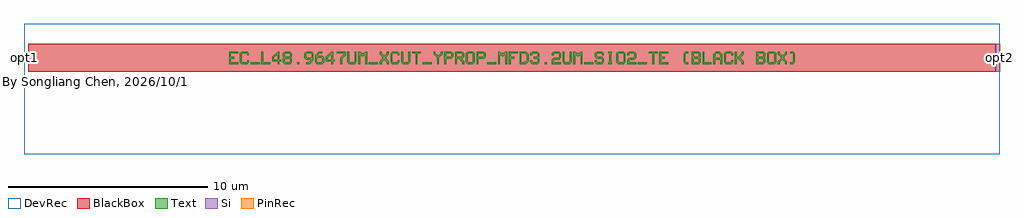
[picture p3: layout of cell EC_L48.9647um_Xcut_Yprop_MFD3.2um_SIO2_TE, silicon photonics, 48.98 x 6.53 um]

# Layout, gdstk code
import gdstk
lib = gdstk.Library(unit=1e-6, precision=1e-10)
def R(c, l, rs):  # rectangles x0, y0, x1, y1
    for r in rs: c.add(gdstk.rectangle(r[:2], r[2:], *l))
def P(c, l, *ps):  # polygons
    for p in ps: c.add(gdstk.Polygon(p, *l))
Si = (1, 0)
PinRec = (1, 10)
Text = (10, 0)
DevRec = (68, 0)
BlackBox = (998, 0)

text_10 = lib.new_cell('TEXT$10')
R(text_10, Text, [(1.08,0,1.53,0.09), (3.42,0,3.51,0.09), (7.02,0,7.47,0.09), (9.72,0,10.17,0.09), (12.96,0,13.41,0.09), (15.84,0,15.93,0.09), (17.82,0,18.27,0.09), (20.52,0,20.97,0.09)])
P(text_10, Text, [(0,0),(0,0.63),(0.45,0.63),(0.45,0.54),(0.09,0.54),(0.09,0.36),(0.27,0.36),(0.27,0.27),(0.09,0.27),(0.09,0.09),(0.45,0.09),(0.45,0)],
  [(0.63,0),(0.54,0.09),(0.54,0.54),(0.63,0.63),(0.9,0.63),(0.99,0.54),(0.99,0.45),(0.9,0.45),(0.9,0.495),(0.855,0.54),(0.675,0.54),(0.63,0.495),(0.63,0.135),(0.675,0.09),(0.855,0.09),(0.9,0.135),(0.9,0.18),(0.99,0.18),(0.99,0.09),(0.9,0)],
  [(1.62,0),(1.62,0.63),(1.71,0.63),(1.71,0.09),(2.07,0.09),(2.07,0)],
  [(2.43,0),(2.43,0.135),(2.16,0.135),(2.16,0.225),(2.43,0.225),(2.43,0.45),(2.385,0.45),(2.25,0.315),(2.25,0.225),(2.16,0.225),(2.16,0.36),(2.43,0.63),(2.52,0.63),(2.52,0.225),(2.61,0.225),(2.61,0.135),(2.52,0.135),(2.52,0)],
  [(2.79,0),(2.7,0.09),(2.7,0.27),(2.745,0.315),(2.7,0.36),(2.7,0.54),(2.79,0.63),(3.06,0.63),(3.15,0.54),(2.835,0.54),(2.79,0.495),(2.79,0.405),(2.835,0.36),(3.015,0.36),(3.06,0.405),(3.06,0.495),(3.015,0.54),(3.15,0.54),(3.15,0.36),(3.105,0.315),(3.15,0.27),(2.835,0.27),(2.79,0.225),(2.79,0.135),(2.835,0.09),(3.015,0.09),(3.06,0.135),(3.06,0.225),(3.015,0.27),(3.15,0.27),(3.15,0.09),(3.06,0)],
  [(3.87,0),(3.87,0.09),(4.005,0.09),(4.095,0.18),(4.095,0.225),(3.87,0.225),(3.78,0.315),(4.095,0.315),(4.14,0.36),(4.14,0.495),(4.095,0.54),(3.915,0.54),(3.87,0.495),(3.87,0.36),(3.915,0.315),(3.78,0.315),(3.78,0.54),(3.87,0.63),(4.14,0.63),(4.23,0.54),(4.23,0.18),(4.05,0)],
  [(4.41,0),(4.32,0.09),(4.32,0.45),(4.5,0.63),(4.68,0.63),(4.68,0.54),(4.545,0.54),(4.455,0.45),(4.455,0.405),(4.68,0.405),(4.77,0.315),(4.455,0.315),(4.41,0.27),(4.41,0.135),(4.455,0.09),(4.635,0.09),(4.68,0.135),(4.68,0.27),(4.635,0.315),(4.77,0.315),(4.77,0.09),(4.68,0)],
  [(5.13,0),(5.13,0.135),(4.86,0.135),(4.86,0.225),(5.13,0.225),(5.13,0.45),(5.085,0.45),(4.95,0.315),(4.95,0.225),(4.86,0.225),(4.86,0.36),(5.13,0.63),(5.22,0.63),(5.22,0.225),(5.31,0.225),(5.31,0.135),(5.22,0.135),(5.22,0)],
  [(5.58,0),(5.58,0.315),(5.76,0.495),(5.76,0.54),(5.4,0.54),(5.4,0.63),(5.85,0.63),(5.85,0.45),(5.67,0.27),(5.67,0)],
  [(6.03,0),(5.94,0.09),(5.94,0.63),(6.03,0.63),(6.03,0.135),(6.075,0.09),(6.255,0.09),(6.3,0.135),(6.3,0.63),(6.39,0.63),(6.39,0.09),(6.3,0)],
  [(6.48,0),(6.48,0.63),(6.57,0.63),(6.66,0.54),(6.75,0.54),(6.84,0.63),(6.93,0.63),(6.93,0),(6.84,0),(6.84,0.45),(6.795,0.45),(6.705,0.36),(6.615,0.45),(6.57,0.45),(6.57,0)],
  [(7.56,0),(7.56,0.135),(7.695,0.27),(7.695,0.36),(7.56,0.495),(7.56,0.63),(7.65,0.63),(7.65,0.54),(7.785,0.405),(7.92,0.54),(7.92,0.63),(8.01,0.63),(8.01,0.495),(7.875,0.36),(7.875,0.27),(8.01,0.135),(8.01,0),(7.92,0),(7.92,0.09),(7.785,0.225),(7.65,0.09),(7.65,0)],
  [(8.19,0),(8.1,0.09),(8.1,0.54),(8.19,0.63),(8.46,0.63),(8.55,0.54),(8.55,0.45),(8.46,0.45),(8.46,0.495),(8.415,0.54),(8.235,0.54),(8.19,0.495),(8.19,0.135),(8.235,0.09),(8.415,0.09),(8.46,0.135),(8.46,0.18),(8.55,0.18),(8.55,0.09),(8.46,0)],
  [(8.73,0),(8.64,0.09),(8.64,0.63),(8.73,0.63),(8.73,0.135),(8.775,0.09),(8.955,0.09),(9,0.135),(9,0.63),(9.09,0.63),(9.09,0.09),(9,0)],
  [(9.36,0),(9.36,0.54),(9.18,0.54),(9.18,0.63),(9.63,0.63),(9.63,0.54),(9.45,0.54),(9.45,0)],
  [(10.44,0),(10.44,0.315),(10.26,0.495),(10.26,0.63),(10.35,0.63),(10.35,0.54),(10.485,0.405),(10.62,0.54),(10.62,0.63),(10.71,0.63),(10.71,0.495),(10.53,0.315),(10.53,0)],
  [(10.8,0),(10.8,0.63),(11.16,0.63),(11.25,0.54),(11.25,0.36),(11.16,0.27),(10.89,0.27),(10.89,0.36),(11.115,0.36),(11.16,0.405),(11.16,0.495),(11.115,0.54),(10.89,0.54),(10.89,0)],
  [(11.34,0),(11.34,0.63),(11.7,0.63),(11.79,0.54),(11.43,0.54),(11.43,0.36),(11.655,0.36),(11.7,0.405),(11.7,0.495),(11.655,0.54),(11.79,0.54),(11.79,0.36),(11.7,0.27),(11.7,0.225),(11.79,0.135),(11.79,0),(11.7,0),(11.7,0.09),(11.52,0.27),(11.43,0.27),(11.43,0)],
  [(11.97,0),(11.88,0.09),(11.88,0.54),(11.97,0.63),(12.24,0.63),(12.33,0.54),(12.33,0.315),(12.24,0.315),(12.24,0.495),(12.195,0.54),(12.015,0.54),(11.97,0.495),(11.97,0.135),(12.015,0.09),(12.195,0.09),(12.24,0.135),(12.24,0.315),(12.33,0.315),(12.33,0.09),(12.24,0)],
  [(12.42,0),(12.42,0.63),(12.78,0.63),(12.87,0.54),(12.87,0.36),(12.78,0.27),(12.51,0.27),(12.51,0.36),(12.735,0.36),(12.78,0.405),(12.78,0.495),(12.735,0.54),(12.51,0.54),(12.51,0)],
  [(13.5,0),(13.5,0.63),(13.59,0.63),(13.68,0.54),(13.77,0.54),(13.86,0.63),(13.95,0.63),(13.95,0),(13.86,0),(13.86,0.45),(13.815,0.45),(13.725,0.36),(13.635,0.45),(13.59,0.45),(13.59,0)],
  [(14.04,0),(14.04,0.63),(14.49,0.63),(14.49,0.54),(14.13,0.54),(14.13,0.36),(14.31,0.36),(14.31,0.27),(14.13,0.27),(14.13,0)],
  [(14.58,0),(14.58,0.63),(14.895,0.63),(14.985,0.54),(14.67,0.54),(14.67,0.09),(14.85,0.09),(14.94,0.18),(14.94,0.45),(14.85,0.54),(14.985,0.54),(15.03,0.495),(15.03,0.135),(14.895,0)],
  [(15.21,0),(15.12,0.09),(15.12,0.18),(15.21,0.18),(15.21,0.135),(15.255,0.09),(15.435,0.09),(15.48,0.135),(15.48,0.225),(15.435,0.27),(15.3,0.27),(15.3,0.36),(15.435,0.36),(15.48,0.405),(15.48,0.495),(15.435,0.54),(15.255,0.54),(15.21,0.495),(15.21,0.45),(15.12,0.45),(15.12,0.54),(15.21,0.63),(15.48,0.63),(15.57,0.54),(15.57,0.36),(15.525,0.315),(15.57,0.27),(15.57,0.09),(15.48,0)],
  [(16.2,0),(16.2,0.225),(16.29,0.315),(16.515,0.315),(16.56,0.36),(16.56,0.495),(16.515,0.54),(16.335,0.54),(16.29,0.495),(16.29,0.45),(16.2,0.45),(16.2,0.54),(16.29,0.63),(16.56,0.63),(16.65,0.54),(16.65,0.315),(16.56,0.225),(16.335,0.225),(16.29,0.18),(16.29,0.09),(16.65,0.09),(16.65,0)],
  [(16.83,0),(16.74,0.09),(16.74,0.63),(16.83,0.63),(16.83,0.135),(16.875,0.09),(17.055,0.09),(17.1,0.135),(17.1,0.63),(17.19,0.63),(17.19,0.09),(17.1,0)],
  [(17.28,0),(17.28,0.63),(17.37,0.63),(17.46,0.54),(17.55,0.54),(17.64,0.63),(17.73,0.63),(17.73,0),(17.64,0),(17.64,0.45),(17.595,0.45),(17.505,0.36),(17.415,0.45),(17.37,0.45),(17.37,0)],
  [(18.45,0),(18.36,0.09),(18.36,0.18),(18.45,0.18),(18.45,0.135),(18.495,0.09),(18.675,0.09),(18.72,0.135),(18.72,0.225),(18.675,0.27),(18.45,0.27),(18.36,0.36),(18.36,0.54),(18.45,0.63),(18.72,0.63),(18.81,0.54),(18.81,0.45),(18.72,0.45),(18.72,0.495),(18.675,0.54),(18.495,0.54),(18.45,0.495),(18.45,0.405),(18.495,0.36),(18.72,0.36),(18.81,0.27),(18.81,0.09),(18.72,0)],
  [(19.035,0),(19.035,0.09),(19.08,0.09),(19.08,0.54),(19.035,0.54),(19.035,0.63),(19.215,0.63),(19.215,0.54),(19.17,0.54),(19.17,0.09),(19.215,0.09),(19.215,0)],
  [(19.53,0),(19.44,0.09),(19.44,0.54),(19.53,0.63),(19.8,0.63),(19.89,0.54),(19.89,0.315),(19.8,0.315),(19.8,0.495),(19.755,0.54),(19.575,0.54),(19.53,0.495),(19.53,0.135),(19.575,0.09),(19.755,0.09),(19.8,0.135),(19.8,0.315),(19.89,0.315),(19.89,0.09),(19.8,0)],
  [(19.98,0),(19.98,0.225),(20.07,0.315),(20.295,0.315),(20.34,0.36),(20.34,0.495),(20.295,0.54),(20.115,0.54),(20.07,0.495),(20.07,0.45),(19.98,0.45),(19.98,0.54),(20.07,0.63),(20.34,0.63),(20.43,0.54),(20.43,0.315),(20.34,0.225),(20.115,0.225),(20.07,0.18),(20.07,0.09),(20.43,0.09),(20.43,0)],
  [(21.24,0),(21.24,0.54),(21.06,0.54),(21.06,0.63),(21.51,0.63),(21.51,0.54),(21.33,0.54),(21.33,0)],
  [(21.6,0),(21.6,0.63),(22.05,0.63),(22.05,0.54),(21.69,0.54),(21.69,0.36),(21.87,0.36),(21.87,0.27),(21.69,0.27),(21.69,0.09),(22.05,0.09),(22.05,0)],
  [(22.905,0),(22.815,0.09),(22.815,0.54),(22.905,0.63),(23.04,0.63),(23.04,0.54),(22.95,0.54),(22.905,0.495),(22.905,0.135),(22.95,0.09),(23.04,0.09),(23.04,0)],
  [(23.22,0),(23.22,0.63),(23.58,0.63),(23.67,0.54),(23.31,0.54),(23.31,0.36),(23.535,0.36),(23.58,0.405),(23.58,0.495),(23.535,0.54),(23.67,0.54),(23.67,0.36),(23.625,0.315),(23.67,0.27),(23.31,0.27),(23.31,0.09),(23.535,0.09),(23.58,0.135),(23.58,0.225),(23.535,0.27),(23.67,0.27),(23.67,0.09),(23.58,0)],
  [(23.76,0),(23.76,0.63),(23.85,0.63),(23.85,0.09),(24.21,0.09),(24.21,0)],
  [(24.3,0),(24.3,0.495),(24.435,0.63),(24.615,0.63),(24.705,0.54),(24.48,0.54),(24.39,0.45),(24.39,0.315),(24.66,0.315),(24.66,0.45),(24.57,0.54),(24.705,0.54),(24.75,0.495),(24.75,0),(24.66,0),(24.66,0.225),(24.39,0.225),(24.39,0)],
  [(24.93,0),(24.84,0.09),(24.84,0.54),(24.93,0.63),(25.2,0.63),(25.29,0.54),(25.29,0.45),(25.2,0.45),(25.2,0.495),(25.155,0.54),(24.975,0.54),(24.93,0.495),(24.93,0.135),(24.975,0.09),(25.155,0.09),(25.2,0.135),(25.2,0.18),(25.29,0.18),(25.29,0.09),(25.2,0)],
  [(25.38,0),(25.38,0.63),(25.47,0.63),(25.47,0.36),(25.56,0.36),(25.74,0.54),(25.74,0.63),(25.83,0.63),(25.83,0.495),(25.65,0.315),(25.83,0.135),(25.83,0),(25.74,0),(25.74,0.09),(25.56,0.27),(25.47,0.27),(25.47,0)],
  [(26.46,0),(26.46,0.63),(26.82,0.63),(26.91,0.54),(26.55,0.54),(26.55,0.36),(26.775,0.36),(26.82,0.405),(26.82,0.495),(26.775,0.54),(26.91,0.54),(26.91,0.36),(26.865,0.315),(26.91,0.27),(26.55,0.27),(26.55,0.09),(26.775,0.09),(26.82,0.135),(26.82,0.225),(26.775,0.27),(26.91,0.27),(26.91,0.09),(26.82,0)],
  [(27.09,0),(27,0.09),(27,0.54),(27.09,0.63),(27.36,0.63),(27.45,0.54),(27.45,0.315),(27.36,0.315),(27.36,0.495),(27.315,0.54),(27.135,0.54),(27.09,0.495),(27.09,0.135),(27.135,0.09),(27.315,0.09),(27.36,0.135),(27.36,0.315),(27.45,0.315),(27.45,0.09),(27.36,0)],
  [(27.54,0),(27.54,0.135),(27.675,0.27),(27.675,0.36),(27.54,0.495),(27.54,0.63),(27.63,0.63),(27.63,0.54),(27.765,0.405),(27.9,0.54),(27.9,0.63),(27.99,0.63),(27.99,0.495),(27.855,0.36),(27.855,0.27),(27.99,0.135),(27.99,0),(27.9,0),(27.9,0.09),(27.765,0.225),(27.63,0.09),(27.63,0)],
  [(28.17,0),(28.17,0.09),(28.26,0.09),(28.305,0.135),(28.305,0.495),(28.26,0.54),(28.17,0.54),(28.17,0.63),(28.305,0.63),(28.395,0.54),(28.395,0.09),(28.305,0)])

ec_l48_9647um_xcut_yprop = lib.new_cell('EC_L48.9647um_Xcut_Yprop_MFD3.2um_SIO2_TE')
R(ec_l48_9647um_xcut_yprop, Si, [(24.2823,-0.7,24.4823,0.7), (-24.4824,-0.0984,-24.2824,0.0984)])
R(ec_l48_9647um_xcut_yprop, DevRec, [(-24.4824,-4.8338,24.4823,1.7)])
R(ec_l48_9647um_xcut_yprop, BlackBox, [(-24.2824,-0.7,24.2823,0.7)])
ec_l48_9647um_xcut_yprop.add(gdstk.FlexPath([(-24.4724,0),(-24.4924,0)], 0.1968, ends="flush", simple_path=True, layer=1, datatype=10))  # PinRec
ec_l48_9647um_xcut_yprop.add(gdstk.FlexPath([(24.4723,0),(24.4923,0)], 1.4, ends="flush", simple_path=True, layer=1, datatype=10))  # PinRec
ec_l48_9647um_xcut_yprop.add(gdstk.Reference(text_10, (-14.1976,-0.315)))
ec_l48_9647um_xcut_yprop.add(gdstk.Label('By Songliang Chen, 2026/10/13', (-23.9824,-1.2), layer=10, texttype=0))
ec_l48_9647um_xcut_yprop.add(gdstk.Label('opt1', (-24.4824,0), layer=1, texttype=10))
ec_l48_9647um_xcut_yprop.add(gdstk.Label('opt2', (24.4823,0), layer=1, texttype=10))

lib.write_gds('EC_L48.9647um_Xcut_Yprop_MFD3.2um_SIO2_TE.gds')
